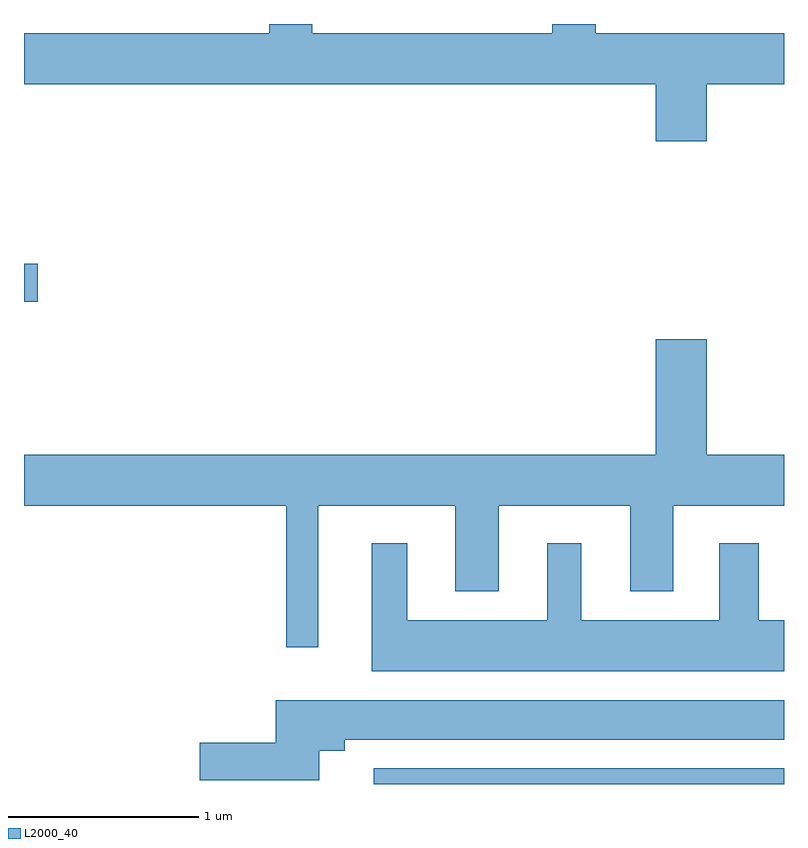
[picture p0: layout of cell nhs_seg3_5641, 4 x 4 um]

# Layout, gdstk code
import gdstk
lib = gdstk.Library(unit=1e-6, precision=1e-09)
def R(c, l, rs):  # rectangles x0, y0, x1, y1
    for r in rs: c.add(gdstk.rectangle(r[:2], r[2:], *l))
def P(c, l, *ps):  # polygons
    for p in ps: c.add(gdstk.Polygon(p, *l))
L2000_40 = (2000, 40)

nhs_seg3_5641 = lib.new_cell('nhs_seg3_5641')
R(nhs_seg3_5641, L2000_40, [(353.451,1117.892,355.611,1117.974), (351.611,1120.431,351.684,1120.629)])
P(nhs_seg3_5641, L2000_40, [(355.204,1121.576),(355.611,1121.576),(355.611,1121.844),(354.619,1121.844),(354.619,1121.892),(354.391,1121.892),(354.391,1121.844),(353.129,1121.844),(353.129,1121.892),(352.901,1121.892),(352.901,1121.844),(351.611,1121.844),(351.611,1121.576),(354.936,1121.576),(354.936,1121.276),(355.204,1121.276)],
  [(353.159,1119.356),(353.881,1119.356),(353.881,1118.906),(354.109,1118.906),(354.109,1119.356),(354.801,1119.356),(354.801,1118.906),(355.029,1118.906),(355.029,1119.356),(355.611,1119.356),(355.611,1119.624),(355.204,1119.624),(355.204,1120.234),(354.936,1120.234),(354.936,1119.624),(351.611,1119.624),(351.611,1119.356),(352.991,1119.356),(352.991,1118.613),(353.159,1118.613)],
  [(355.611,1118.754),(355.479,1118.754),(355.479,1119.159),(355.271,1119.159),(355.271,1118.754),(354.544,1118.754),(354.544,1119.159),(354.366,1119.159),(354.366,1118.754),(353.629,1118.754),(353.629,1119.159),(353.441,1119.159),(353.441,1118.486),(355.611,1118.486)],
  [(353.164,1118.066),(353.299,1118.066),(353.299,1118.126),(355.611,1118.126),(355.611,1118.334),(352.936,1118.334),(352.936,1118.109),(352.536,1118.109),(352.536,1117.911),(353.164,1117.911)])

lib.write_gds('nhs_seg3_5641.gds')
